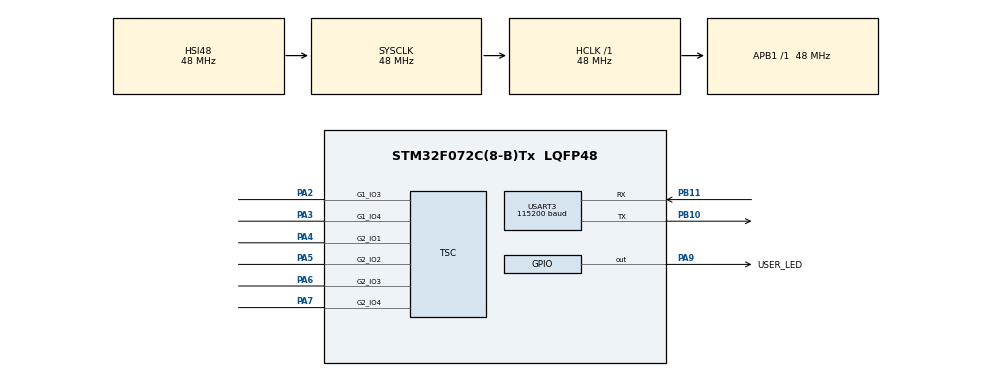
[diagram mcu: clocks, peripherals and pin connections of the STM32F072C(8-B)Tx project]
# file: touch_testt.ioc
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Mcu.Family=STM32F0
Mcu.Name=STM32F072C(8-B)Tx
Mcu.Package=LQFP48
PA13.Mode=Serial_Wire
PA13.Signal=SYS_SWDIO
PA14.Mode=Serial_Wire
PA14.Signal=SYS_SWCLK
PA2.Mode=G1_IO3-Sampling
PA2.Signal=TSC_G1_IO3
PA3.Mode=G1_IO4-Shield
PA3.Signal=TSC_G1_IO4
PA4.Mode=G2_IO1-Channel
PA4.Signal=TSC_G2_IO1
PA5.Mode=G2_IO2-Channel
PA5.Signal=TSC_G2_IO2
PA6.Mode=G2_IO3-Channel
PA6.Signal=TSC_G2_IO3
PA7.Mode=G2_IO4-Sampling
PA7.Signal=TSC_G2_IO4
PA9.GPIO_Label=USER_LED
PA9.Signal=GPIO_Output
PB10.Mode=Asynchronous
PB10.Signal=USART3_TX
PB11.Mode=Asynchronous
PB11.Signal=USART3_RX
ProjectManager.HeapSize=0x200
ProjectManager.StackSize=0x400
ProjectManager.TargetToolchain=MDK-ARM V5
RCC.AHBFreq_Value=48000000
RCC.APB1Freq_Value=48000000
RCC.APB1TimFreq_Value=48000000
RCC.HCLKFreq_Value=48000000
RCC.SYSCLKFreq_VALUE=48000000
RCC.SYSCLKSource=RCC_SYSCLKSOURCE_HSI48
TSC.CTPulseHighLength=TSC_CTPH_4CYCLES
TSC.CTPulseLowLength=TSC_CTPL_4CYCLES
TSC.ChannelIOs-G2_IO1-Channel=TSC_GROUP2_IO1
TSC.ChannelIOs-G2_IO2-Channel=TSC_GROUP2_IO2
TSC.ChannelIOs-G2_IO3-Channel=TSC_GROUP2_IO3
TSC.MaxCountValue=TSC_MCV_4095
TSC.PulseGeneratorPrescaler=TSC_PG_PRESC_DIV32
TSC.SamplingIOs-G1_IO3-Sampling=TSC_GROUP1_IO3
TSC.SamplingIOs-G2_IO4-Sampling=TSC_GROUP2_IO4
TSC.ShieldIOs-G1_IO4-Shield=TSC_GROUP1_IO4
TSC.SpreadSpectrum=DISABLE
USART3.BaudRate=115200
USART3.VirtualMode-Asynchronous=VM_ASYNC
USART3.WordLength=WORDLENGTH_8B
board=touch_testt

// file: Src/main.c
/**
  ******************************************************************************
  * File Name          : main.c
  * Description        : Main program body
  ******************************************************************************
  *
  * COPYRIGHT(c) 2017 STMicroelectronics
  *
  * Redistribution and use in source and binary forms, with or without modification,
  * are permitted provided that the following conditions are met:
  *   1. Redistributions of source code must retain the above copyright notice,
  *      this list of conditions and the following disclaimer.
  *   2. Redistributions in binary form must reproduce the above copyright notice,
  *      this list of conditions and the following disclaimer in the documentation
  *      and/or other materials provided with the distribution.
  *   3. Neither the name of STMicroelectronics nor the names of its contributors
  *      may be used to endorse or promote products derived from this software
  *      without specific prior written permission.
  *
  * THIS SOFTWARE IS PROVIDED BY THE COPYRIGHT HOLDERS AND CONTRIBUTORS "AS IS"
  * AND ANY EXPRESS OR IMPLIED WARRANTIES, INCLUDING, BUT NOT LIMITED TO, THE
  * IMPLIED WARRANTIES OF MERCHANTABILITY AND FITNESS FOR A PARTICULAR PURPOSE ARE
  * DISCLAIMED. IN NO EVENT SHALL THE COPYRIGHT HOLDER OR CONTRIBUTORS BE LIABLE
  * FOR ANY DIRECT, INDIRECT, INCIDENTAL, SPECIAL, EXEMPLARY, OR CONSEQUENTIAL
  * DAMAGES (INCLUDING, BUT NOT LIMITED TO, PROCUREMENT OF SUBSTITUTE GOODS OR
  * SERVICES; LOSS OF USE, DATA, OR PROFITS; OR BUSINESS INTERRUPTION) HOWEVER
  * CAUSED AND ON ANY THEORY OF LIABILITY, WHETHER IN CONTRACT, STRICT LIABILITY,
  * OR TORT (INCLUDING NEGLIGENCE OR OTHERWISE) ARISING IN ANY WAY OUT OF THE USE
  * OF THIS SOFTWARE, EVEN IF ADVISED OF THE POSSIBILITY OF SUCH DAMAGE.
  *
  ******************************************************************************
  */
#include "main.h"
#include "stm32f0xx_hal.h"

TSC_HandleTypeDef htsc;

UART_HandleTypeDef huart3;

/* USER CODE BEGIN PV */
/* Private variables ---------------------------------------------------------*/

/* USER CODE END PV */

void SystemClock_Config(void);
void Error_Handler(void);
static void MX_GPIO_Init(void);
static void MX_USART3_UART_Init(void);
static void MX_TSC_Init(void);

/* USER CODE BEGIN PFP */
/* Private function prototypes -----------------------------------------------*/

/* USER CODE END PFP */

/* USER CODE BEGIN 0 */
int fputc(int ch, FILE *f)
{
    HAL_UART_Transmit(&huart3, (unsigned char *)&ch, 1, 100);
    return ch;
}
/* USER CODE END 0 */

int main(void)
{

  /* MCU Configuration----------------------------------------------------------*/

  /* Reset of all peripherals, Initializes the Flash interface and the Systick. */
  HAL_Init();

  /* Configure the system clock */
  SystemClock_Config();

  /* Initialize all configured peripherals */
  MX_GPIO_Init();
  MX_USART3_UART_Init();
  MX_TSC_Init();

  /* Infinite loop */
  /* USER CODE BEGIN WHILE */
  TSC_IOConfigTypeDef IoConfig;

  IoConfig.ChannelIOs  = TSC_GROUP2_IO1|TSC_GROUP2_IO2|TSC_GROUP2_IO3;
  IoConfig.SamplingIOs = TSC_GROUP1_IO3 | TSC_GROUP2_IO4;
  IoConfig.ShieldIOs = TSC_GROUP1_IO4;
  HAL_TSC_IOConfig(&htsc, &IoConfig);

  while (1)
  {
    HAL_TSC_IODischarge(&htsc, ENABLE);
    HAL_Delay(1);
    HAL_TSC_IODischarge(&htsc, DISABLE);

    HAL_TSC_Start(&htsc);

    while(HAL_TSC_GetState(&htsc) == HAL_TSC_STATE_BUSY)
      ;

    if (HAL_TSC_GroupGetStatus(&htsc, TSC_GROUP2_IDX) == TSC_GROUP_COMPLETED)
    {
      uint32_t uhTSCAcquisitionValue = HAL_TSC_GroupGetValue(&htsc, TSC_GROUP2_IDX);
      printf("%d\n", uhTSCAcquisitionValue);
    }

    HAL_GPIO_TogglePin(USER_LED_GPIO_Port, USER_LED_Pin);
    HAL_Delay(100);
  /* USER CODE END WHILE */

  }

}

/** System Clock Configuration
*/
void SystemClock_Config(void)
{

  RCC_OscInitTypeDef RCC_OscInitStruct;
  RCC_ClkInitTypeDef RCC_ClkInitStruct;

    /**Initializes the CPU, AHB and APB busses clocks
    */
  RCC_OscInitStruct.OscillatorType = RCC_OSCILLATORTYPE_HSI48;
  RCC_OscInitStruct.HSI48State = RCC_HSI48_ON;
  RCC_OscInitStruct.PLL.PLLState = RCC_PLL_NONE;
  if (HAL_RCC_OscConfig(&RCC_OscInitStruct) != HAL_OK)
  {
    Error_Handler();
  }

    /**Initializes the CPU, AHB and APB busses clocks
    */
  RCC_ClkInitStruct.ClockType = RCC_CLOCKTYPE_HCLK|RCC_CLOCKTYPE_SYSCLK
                              |RCC_CLOCKTYPE_PCLK1;
  RCC_ClkInitStruct.SYSCLKSource = RCC_SYSCLKSOURCE_HSI48;
  RCC_ClkInitStruct.AHBCLKDivider = RCC_SYSCLK_DIV1;
  RCC_ClkInitStruct.APB1CLKDivider = RCC_HCLK_DIV1;

  if (HAL_RCC_ClockConfig(&RCC_ClkInitStruct, FLASH_LATENCY_1) != HAL_OK)
  {
    Error_Handler();
  }

    /**Configure the Systick interrupt time
    */
  HAL_SYSTICK_Config(HAL_RCC_GetHCLKFreq()/1000);

    /**Configure the Systick
    */
  HAL_SYSTICK_CLKSourceConfig(SYSTICK_CLKSOURCE_HCLK);

  /* SysTick_IRQn interrupt configuration */
  HAL_NVIC_SetPriority(SysTick_IRQn, 0, 0);
}

/* TSC init function */
static void MX_TSC_Init(void)
{

    /**Configure the TSC peripheral
    */
  htsc.Instance = TSC;
  htsc.Init.CTPulseHighLength = TSC_CTPH_4CYCLES;
  htsc.Init.CTPulseLowLength = TSC_CTPL_4CYCLES;
  htsc.Init.SpreadSpectrum = DISABLE;
  htsc.Init.SpreadSpectrumDeviation = 1;
  htsc.Init.SpreadSpectrumPrescaler = TSC_SS_PRESC_DIV1;
  htsc.Init.PulseGeneratorPrescaler = TSC_PG_PRESC_DIV32;
  htsc.Init.MaxCountValue = TSC_MCV_4095;
  htsc.Init.IODefaultMode = TSC_IODEF_OUT_PP_LOW;
  htsc.Init.SynchroPinPolarity = TSC_SYNC_POLARITY_FALLING;
  htsc.Init.AcquisitionMode = TSC_ACQ_MODE_NORMAL;
  htsc.Init.ChannelIOs = TSC_GROUP2_IO1|TSC_GROUP2_IO2|TSC_GROUP2_IO3;
  htsc.Init.ShieldIOs = TSC_GROUP1_IO4;
  htsc.Init.SamplingIOs = TSC_GROUP1_IO3|TSC_GROUP2_IO4;
  if (HAL_TSC_Init(&htsc) != HAL_OK)
  {
    Error_Handler();
  }

}

/* USART3 init function */
static void MX_USART3_UART_Init(void)
{

  huart3.Instance = USART3;
  huart3.Init.BaudRate = 115200;
  huart3.Init.WordLength = UART_WORDLENGTH_8B;
  huart3.Init.StopBits = UART_STOPBITS_1;
  huart3.Init.Parity = UART_PARITY_NONE;
  huart3.Init.Mode = UART_MODE_TX_RX;
  huart3.Init.HwFlowCtl = UART_HWCONTROL_NONE;
  huart3.Init.OverSampling = UART_OVERSAMPLING_16;
  huart3.Init.OneBitSampling = UART_ONE_BIT_SAMPLE_DISABLE;
  huart3.AdvancedInit.AdvFeatureInit = UART_ADVFEATURE_NO_INIT;
  if (HAL_UART_Init(&huart3) != HAL_OK)
  {
    Error_Handler();
  }

}

/** Configure pins as
        * Analog
        * Input
        * Output
        * EVENT_OUT
        * EXTI
*/
static void MX_GPIO_Init(void)
{

  GPIO_InitTypeDef GPIO_InitStruct;

  /* GPIO Ports Clock Enable */
  __HAL_RCC_GPIOA_CLK_ENABLE();
  __HAL_RCC_GPIOB_CLK_ENABLE();

  /*Configure GPIO pin Output Level */
  HAL_GPIO_WritePin(USER_LED_GPIO_Port, USER_LED_Pin, GPIO_PIN_RESET);

  /*Configure GPIO pin : USER_LED_Pin */
  GPIO_InitStruct.Pin = USER_LED_Pin;
  GPIO_InitStruct.Mode = GPIO_MODE_OUTPUT_PP;
  GPIO_InitStruct.Pull = GPIO_NOPULL;
  GPIO_InitStruct.Speed = GPIO_SPEED_FREQ_LOW;
  HAL_GPIO_Init(USER_LED_GPIO_Port, &GPIO_InitStruct);

}

void Error_Handler(void)
{
  while(1)
  {
  }
}

/************************ (C) COPYRIGHT STMicroelectronics *****END OF FILE****/
